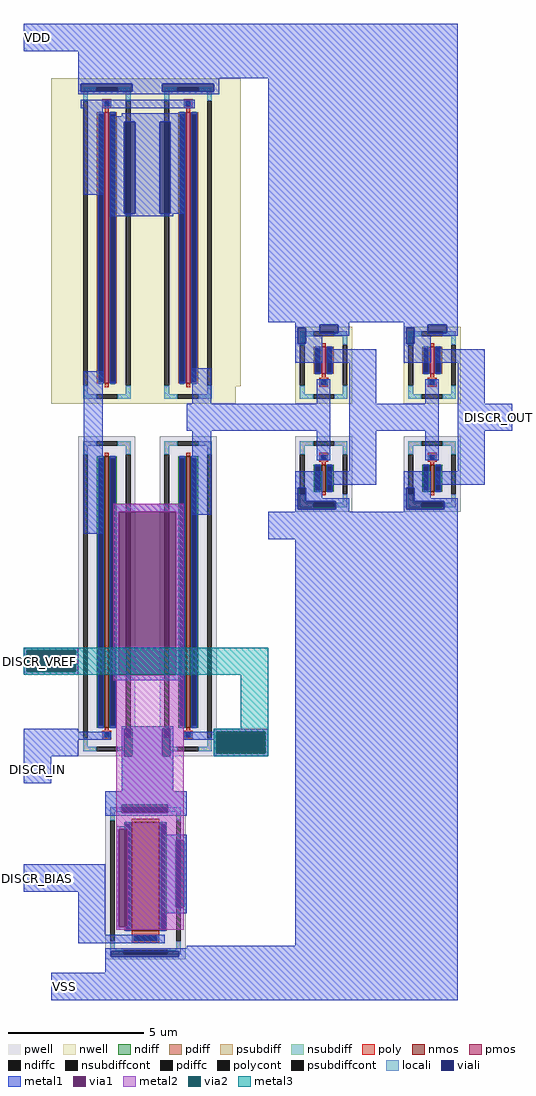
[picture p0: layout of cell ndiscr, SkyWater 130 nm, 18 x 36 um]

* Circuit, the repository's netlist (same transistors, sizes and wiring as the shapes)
** sch_path: /home/ttuser/tt_analog_z2a/xschem/ndiscr.sch
.subckt ndiscr VDD VSS DISCR_BIAS DISCR_IN DISCR_OUT DISCR_VREF
*.PININFO VDD:B VSS:B DISCR_IN:I DISCR_VREF:I DISCR_OUT:O DISCR_BIAS:B
x6 VDD VSS net2 net1 inv_x1
x7 VDD VSS DISCR_OUT net2 inv_x1
x17 VDD VSS net1 DISCR_IN DISCR_VREF DISCR_BIAS amp
.ends

* expanding   symbol:  inv_x1.sym # of pins=4
** sym_path: /home/ttuser/tt_analog_z2a/xschem/inv_x1.sym
** sch_path: /home/ttuser/tt_analog_z2a/xschem/inv_x1.sch
.subckt inv_x1 VDD VSS INV_OUT INV_IN
*.PININFO INV_IN:I INV_OUT:O VDD:B VSS:B
XM3 INV_OUT INV_IN VDD VDD sky130_fd_pr__pfet_01v8 L=0.15 W=1 nf=1 m=1
XM5 INV_OUT INV_IN VSS VSS sky130_fd_pr__nfet_01v8 L=0.15 W=1 nf=1 m=1
.ends


* expanding   symbol:  amp.sym # of pins=6
** sym_path: /home/ttuser/tt_analog_z2a/xschem/amp.sym
** sch_path: /home/ttuser/tt_analog_z2a/xschem/amp.sch
.subckt amp VDD VSS AMP_OUT AMP_P AMP_N NBIAS
*.PININFO AMP_P:I AMP_N:I AMP_OUT:O NBIAS:I VDD:B VSS:B
XM3 VFOLD VFOLD VDD VDD sky130_fd_pr__pfet_01v8 L=0.15 W=10 nf=1 m=1
XM4 AMP_OUT AMP_N VTAIL VSS sky130_fd_pr__nfet_01v8 L=0.15 W=10 nf=1 m=1
XM1 AMP_OUT VFOLD VDD VDD sky130_fd_pr__pfet_01v8 L=0.15 W=10 nf=1 m=1
XM5 VFOLD AMP_P VTAIL VSS sky130_fd_pr__nfet_01v8 L=0.15 W=10 nf=1 m=1
XM2 VTAIL NBIAS VSS VSS sky130_fd_pr__nfet_01v8 L=1 W=1 nf=1 m=4
.ends

.end

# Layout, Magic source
magic
tech sky130A
<< metal1 >>
rect 200 2700 500 2800
rect 900 2600 1800 2800
rect 1100 1700 1800 2600
rect 1900 1300 2000 1400
rect 1100 900 1800 1000
rect 200 490 400 500
rect 200 410 210 490
rect 390 410 400 490
rect 200 400 400 410
rect 200 0 300 100
rect 200 -400 400 -300
rect 1200 -600 1800 900
rect 300 -800 500 -700
rect 800 -800 1800 -600
<< via1 >>
rect 210 410 390 490
rect 910 110 1090 190
<< metal2 >>
rect 200 490 400 500
rect 200 410 210 490
rect 390 410 400 490
rect 200 400 400 410
rect 900 190 1100 200
rect 900 110 910 190
rect 1090 110 1100 190
rect 900 100 1100 110
<< via2 >>
rect 210 410 390 490
rect 910 110 1090 190
<< metal3 >>
rect 200 490 1100 500
rect 200 410 210 490
rect 390 410 1100 490
rect 200 400 1100 410
rect 1000 200 1100 400
rect 900 190 1100 200
rect 900 110 910 190
rect 1090 110 1100 190
rect 900 100 1100 110
use inv_x1  x6 ~/tt_analog_z2a_2/mag
transform 1 0 1000 0 1 1600
box 100 -700 500 200
use inv_x1  x7
transform 1 0 1400 0 1 1600
box 100 -700 500 200
use amp  x17
transform 1 0 -200 0 1 500
box 400 -1300 1300 2300
<< labels >>
flabel metal1 300 -800 400 -700 0 FreeSans 128 0 0 0 VSS
port 1 nsew
flabel metal1 200 2700 300 2800 0 FreeSans 128 0 0 0 VDD
port 0 nsew
flabel metal1 200 -400 300 -300 0 FreeSans 128 0 0 0 DISCR_BIAS
port 2 nsew
flabel metal1 1900 1300 2000 1400 0 FreeSans 128 0 0 0 DISCR_OUT
port 4 nsew
flabel metal1 200 0 300 100 0 FreeSans 128 0 0 0 DISCR_IN
port 3 nsew
flabel metal1 200 400 300 500 0 FreeSans 128 0 0 0 DISCR_VREF
port 5 nsew
<< end >>

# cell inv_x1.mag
magic
tech sky130A
magscale 1 2
<< viali >>
rect 420 40 480 160
rect 580 120 720 180
rect 420 -1120 480 -1020
rect 420 -1180 700 -1120
<< metal1 >>
rect 200 200 800 400
rect 400 180 800 200
rect 400 160 580 180
rect 400 40 420 160
rect 480 120 580 160
rect 720 120 800 180
rect 480 100 800 120
rect 480 40 600 100
rect 400 -100 600 40
rect 640 -100 1000 0
rect 560 -400 660 -220
rect 200 -600 660 -400
rect 560 -820 660 -600
rect 800 -900 1000 -100
rect 400 -1020 600 -900
rect 640 -1000 1000 -900
rect 400 -1180 420 -1020
rect 480 -1100 600 -1020
rect 480 -1120 800 -1100
rect 700 -1180 800 -1120
rect 400 -1200 800 -1180
rect 200 -1400 800 -1200
use sky130_fd_pr__pfet_01v8_LGS3BL  XM3
transform 1 0 611 0 1 -116
box -211 -284 211 284
use sky130_fd_pr__nfet_01v8_64Z3AY  XM5
transform 1 0 611 0 1 -921
box -211 -279 211 279
<< labels >>
flabel metal1 800 -600 1000 -400 0 FreeSans 256 0 0 0 INV_OUT
port 2 nsew
flabel metal1 200 -600 400 -400 0 FreeSans 256 0 0 0 INV_IN
port 3 nsew
flabel metal1 200 -1400 400 -1200 0 FreeSans 256 0 0 0 VSS
port 1 nsew
flabel metal1 200 200 400 400 0 FreeSans 256 0 0 0 VDD
port 0 nsew
<< end >>

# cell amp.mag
magic
tech sky130A
magscale 1 2
<< nwell >>
rect 1000 1926 2400 4200
rect 1000 1800 2362 1926
<< pwell >>
rect 1520 -1060 1900 -580
rect 1400 -1240 2000 -1060
<< viali >>
rect 1220 4100 1600 4160
rect 1820 4100 2200 4160
rect 1540 3200 1620 3880
rect 1800 3200 1880 3880
rect 1540 -800 1600 -600
rect 1820 -800 1880 -600
rect 1520 -1220 1860 -1160
rect 1920 -1920 1980 -1420
rect 1440 -2280 1940 -2240
<< metal1 >>
rect 1200 4160 2240 4600
rect 1200 4100 1220 4160
rect 1600 4100 1820 4160
rect 2200 4100 2240 4160
rect 1200 4080 2240 4100
rect 1220 3980 2060 4040
rect 1240 3340 1380 3980
rect 1520 3920 1980 3940
rect 1440 3880 1980 3920
rect 1440 3200 1540 3880
rect 1620 3200 1800 3880
rect 1880 3200 1980 3880
rect 1440 3180 1900 3200
rect 1240 840 1380 2040
rect 2040 1800 2180 2060
rect 2000 1600 2600 1800
rect 1460 1000 1980 1060
rect 1460 -200 1500 1000
rect 1920 -200 1980 1000
rect 2040 980 2180 1600
rect 1460 -240 1980 -200
rect 1520 -600 1900 -580
rect 800 -620 1200 -600
rect 800 -680 1440 -620
rect 800 -800 1200 -680
rect 1520 -800 1540 -600
rect 1600 -800 1820 -600
rect 1880 -800 1900 -600
rect 2200 -620 2600 -600
rect 1980 -680 2600 -620
rect 2200 -800 2600 -680
rect 1520 -1060 1900 -800
rect 1400 -1160 2000 -1060
rect 1400 -1220 1520 -1160
rect 1860 -1220 2000 -1160
rect 1400 -1240 2000 -1220
rect 1480 -1340 1580 -1320
rect 1200 -2120 1400 -1600
rect 1480 -2060 1500 -1340
rect 1560 -2060 1580 -1340
rect 1820 -1420 2000 -1380
rect 1820 -1920 1920 -1420
rect 1980 -1920 2000 -1420
rect 1820 -1960 2000 -1920
rect 1480 -2080 1580 -2060
rect 1200 -2180 1840 -2120
rect 1400 -2240 2000 -2220
rect 1400 -2280 1440 -2240
rect 1940 -2280 2000 -2240
rect 1400 -2600 2000 -2280
<< via1 >>
rect 1500 -200 1920 1000
rect 1500 -2060 1560 -1340
<< metal2 >>
rect 1460 1000 1980 1060
rect 1460 -200 1500 1000
rect 1920 -200 1980 1000
rect 1460 -240 1980 -200
rect 1480 -1340 1980 -240
rect 1480 -2060 1500 -1340
rect 1560 -2060 1980 -1340
rect 1480 -2080 1980 -2060
use sky130_fd_pr__nfet_01v8_A5WNKR  sky130_fd_pr__nfet_01v8_A5WNKR_0
transform 1 0 2011 0 1 379
box -211 -1179 211 1179
use sky130_fd_pr__pfet_01v8_MGA8MK  sky130_fd_pr__pfet_01v8_MGA8MK_0
transform 1 0 1411 0 1 2984
box -211 -1184 211 1184
use sky130_fd_pr__pfet_01v8_MGA8MK  XM1
transform 1 0 2011 0 1 2984
box -211 -1184 211 1184
use sky130_fd_pr__nfet_01v8_5ZS3RT  XM2
transform 1 0 1696 0 1 -1721
box -296 -579 296 579
use sky130_fd_pr__nfet_01v8_A5WNKR  XM5
transform 1 0 1411 0 1 379
box -211 -1179 211 1179
<< labels >>
flabel metal1 1400 -2600 1600 -2400 0 FreeSans 256 0 0 0 VSS
port 1 nsew
flabel metal1 1200 -1800 1400 -1600 0 FreeSans 256 0 0 0 NBIAS
port 5 nsew
flabel metal1 1200 4400 1400 4600 0 FreeSans 256 0 0 0 VDD
port 0 nsew
flabel metal1 800 -800 1000 -600 0 FreeSans 256 0 0 0 AMP_P
port 3 nsew
flabel metal1 2400 -800 2600 -600 0 FreeSans 256 0 0 0 AMP_N
port 4 nsew
rlabel metal1 2400 1600 2600 1800 1 amp_out
port 6 n default output
<< end >>

# cell sky130_fd_pr__nfet_01v8_A5WNKR: kit device sky130_fd_pr__nfet_01v8, w 10.0 l 0.15 m 1 nf 1 diffcov 100 polycov 100 guard 1 glc 1 grc 1 gtc 1 gbc 1 tbcov 100 rlcov 100 topc 0 botc 1 poverlap 0 doverlap 1 lmin 0.15 wmin 0.42 compatible {sky130_fd_pr__nfet_01v8 sky130_fd_pr__nfet_01v8_lvt sky130_fd_bs_flash__special_sonosfet_star sky130_fd_pr__nfet_g5v0d10v5 sky130_fd_pr__nfet_05v0_nvt sky130_fd_pr__nfet_03v3_nvt} full_metal 1 viasrc 100 viadrn 100 viagate 100 viagb 0 viagr 0 viagl 0 viagt 0

# cell sky130_fd_pr__pfet_01v8_MGA8MK: kit device sky130_fd_pr__pfet_01v8, w 10.0 l 0.15 m 1 nf 1 diffcov 100 polycov 100 guard 1 glc 1 grc 1 gtc 1 gbc 1 tbcov 100 rlcov 100 topc 1 botc 0 poverlap 0 doverlap 1 lmin 0.15 wmin 0.42 compatible {sky130_fd_pr__pfet_01v8 sky130_fd_pr__pfet_01v8_lvt sky130_fd_pr__pfet_01v8_hvt sky130_fd_pr__pfet_g5v0d10v5} full_metal 1 viasrc 100 viadrn 100 viagate 100 viagb 0 viagr 0 viagl 0 viagt 0

# cell sky130_fd_pr__nfet_01v8_5ZS3RT: kit device sky130_fd_pr__nfet_01v8, w 4.0 l 1.0 m 1 nf 1 diffcov 100 polycov 100 guard 1 glc 1 grc 1 gtc 1 gbc 1 tbcov 100 rlcov 100 topc 0 botc 1 poverlap 0 doverlap 1 lmin 0.15 wmin 0.42 compatible {sky130_fd_pr__nfet_01v8 sky130_fd_pr__nfet_01v8_lvt sky130_fd_bs_flash__special_sonosfet_star sky130_fd_pr__nfet_g5v0d10v5 sky130_fd_pr__nfet_05v0_nvt sky130_fd_pr__nfet_03v3_nvt} full_metal 1 viasrc 100 viadrn 100 viagate 100 viagb 0 viagr 0 viagl 0 viagt 0

# cell sky130_fd_pr__pfet_01v8_LGS3BL: kit device sky130_fd_pr__pfet_01v8, w 1.0 l 0.15 m 1 nf 1 diffcov 100 polycov 100 guard 1 glc 1 grc 1 gtc 1 gbc 1 tbcov 100 rlcov 100 topc 0 botc 1 poverlap 0 doverlap 1 lmin 0.15 wmin 0.42 compatible {sky130_fd_pr__pfet_01v8 sky130_fd_pr__pfet_01v8_lvt sky130_fd_pr__pfet_01v8_hvt sky130_fd_pr__pfet_g5v0d10v5} full_metal 1 viasrc 100 viadrn 100 viagate 100 viagb 0 viagr 0 viagl 0 viagt 0

# cell sky130_fd_pr__nfet_01v8_64Z3AY: kit device sky130_fd_pr__nfet_01v8, w 1.0 l 0.15 m 1 nf 1 diffcov 100 polycov 100 guard 1 glc 1 grc 1 gtc 1 gbc 1 tbcov 100 rlcov 100 topc 1 botc 0 poverlap 0 doverlap 1 lmin 0.15 wmin 0.42 compatible {sky130_fd_pr__nfet_01v8 sky130_fd_pr__nfet_01v8_lvt sky130_fd_bs_flash__special_sonosfet_star sky130_fd_pr__nfet_g5v0d10v5 sky130_fd_pr__nfet_05v0_nvt sky130_fd_pr__nfet_03v3_nvt} full_metal 1 viasrc 100 viadrn 100 viagate 100 viagb 0 viagr 0 viagl 0 viagt 0
